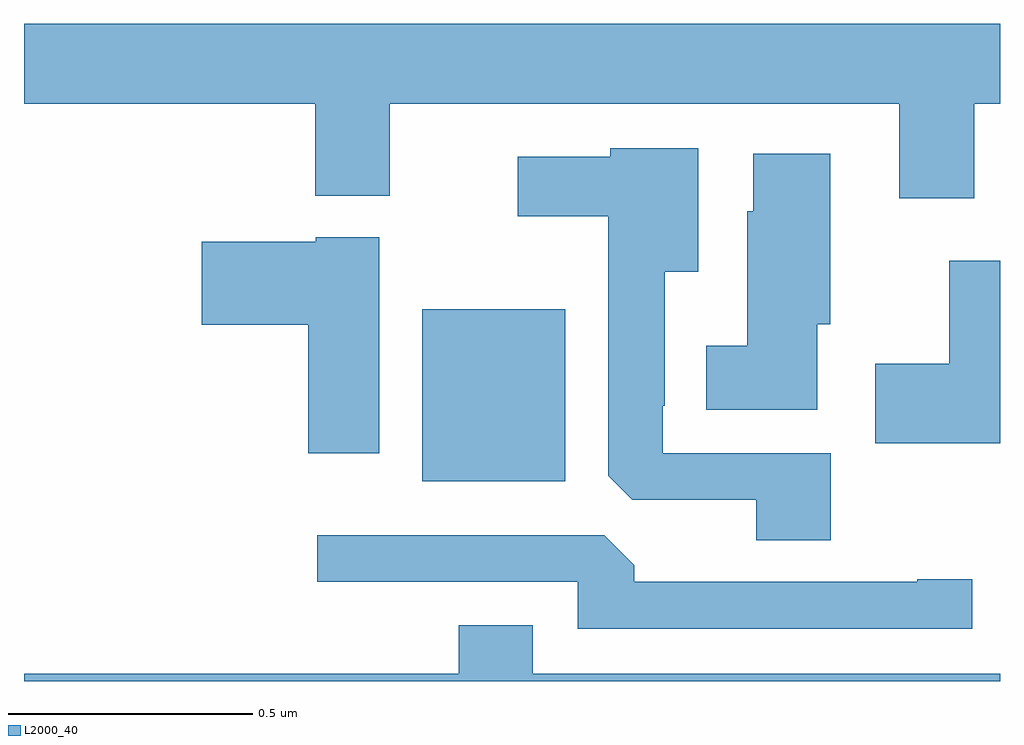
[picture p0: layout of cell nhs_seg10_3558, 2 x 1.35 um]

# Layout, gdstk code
import gdstk
lib = gdstk.Library(unit=1e-6, precision=1e-09)
def R(c, l, rs):  # rectangles x0, y0, x1, y1
    for r in rs: c.add(gdstk.rectangle(r[:2], r[2:], *l))
def P(c, l, *ps):  # polygons
    for p in ps: c.add(gdstk.Polygon(p, *l))
L2000_40 = (2000, 40)

nhs_seg10_3558 = lib.new_cell('nhs_seg10_3558')
R(nhs_seg10_3558, L2000_40, [(155.816,1264.91,156.109,1265.263)])
P(nhs_seg10_3558, L2000_40, [(156.947,1265.684),(157,1265.684),(157,1265.848),(155,1265.848),(155,1265.684),(155.597,1265.684),(155.597,1265.495),(155.749,1265.495),(155.749,1265.684),(156.794,1265.684),(156.794,1265.49),(156.947,1265.49)],
  [(156.653,1264.968),(156.309,1264.968),(156.309,1265.065),(156.313,1265.065),(156.313,1265.339),(156.382,1265.339),(156.382,1265.593),(156.201,1265.593),(156.201,1265.575),(156.012,1265.575),(156.012,1265.453),(156.197,1265.453),(156.197,1264.921),(156.246,1264.872),(156.5,1264.872),(156.5,1264.789),(156.653,1264.789)],
  [(156.625,1265.232),(156.652,1265.232),(156.652,1265.581),(156.494,1265.581),(156.494,1265.463),(156.482,1265.463),(156.482,1265.188),(156.398,1265.188),(156.398,1265.057),(156.625,1265.057)],
  [(155.728,1265.41),(155.598,1265.41),(155.598,1265.401),(155.364,1265.401),(155.364,1265.231),(155.582,1265.231),(155.582,1264.968),(155.728,1264.968)],
  [(157,1265.362),(156.896,1265.362),(156.896,1265.151),(156.744,1265.151),(156.744,1264.988),(157,1264.988)],
  [(156.943,1264.709),(156.83,1264.709),(156.83,1264.704),(156.251,1264.704),(156.251,1264.738),(156.189,1264.8),(155.601,1264.8),(155.601,1264.704),(156.135,1264.704),(156.135,1264.608),(156.943,1264.608)],
  [(157,1264.516),(156.043,1264.516),(156.043,1264.615),(155.891,1264.615),(155.891,1264.516),(155,1264.516),(155,1264.5),(157,1264.5)])

lib.write_gds('nhs_seg10_3558.gds')
